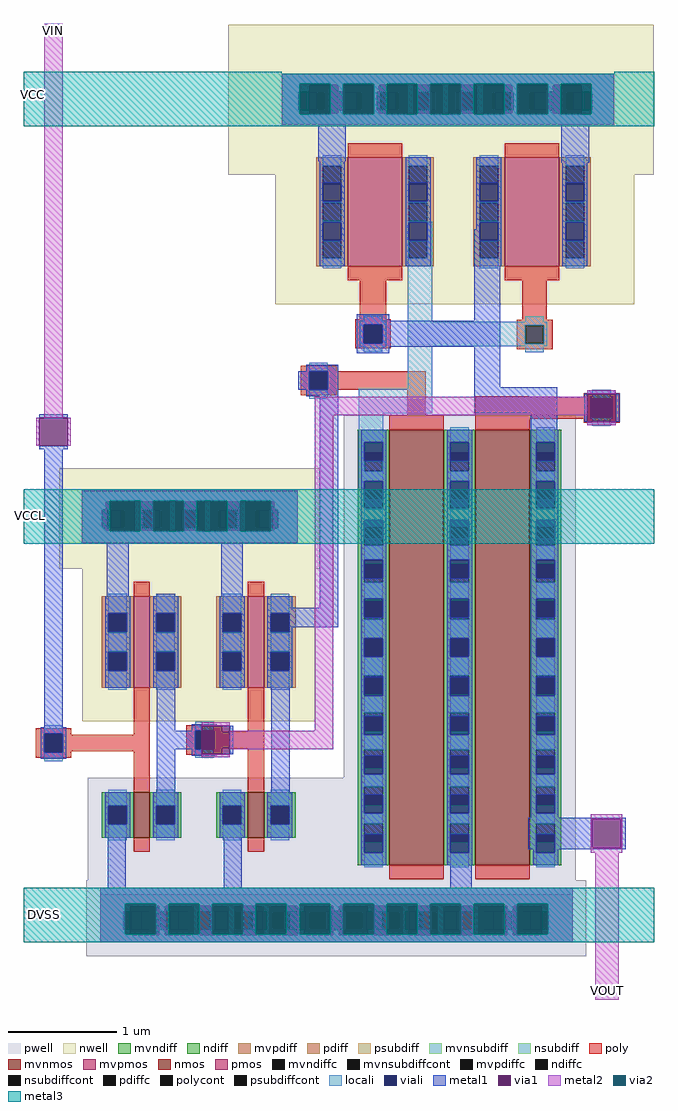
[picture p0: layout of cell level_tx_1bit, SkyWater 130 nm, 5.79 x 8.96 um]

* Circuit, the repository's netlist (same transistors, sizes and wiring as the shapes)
* SPICE3 file created from level_tx_1bit.ext - technology: sky130A

.subckt level_tx_1bit DVSS VCCL VCC VIN VOUT
X0 DVSS a_n1533_1353# a_n1136_1438# DVSS sky130_fd_pr__nfet_g5v0d10v5 ad=0.58 pd=4.29 as=1.16 ps=8.58 w=4 l=0.5
X1 VOUT a_n1743_693# DVSS DVSS sky130_fd_pr__nfet_g5v0d10v5 ad=1.16 pd=8.58 as=0.58 ps=4.29 w=4 l=0.5
X2 a_n1743_693# VIN VCCL VCCL sky130_fd_pr__pfet_01v8 ad=0.244 pd=2.26 as=0.244 ps=2.26 w=0.84 l=0.15
X3 a_n1533_1353# a_n1743_693# VCCL VCCL sky130_fd_pr__pfet_01v8 ad=0.244 pd=2.26 as=0.487 ps=4.52 w=0.84 l=0.15
X4 VCC VOUT a_n1136_1438# VCC sky130_fd_pr__pfet_g5v0d10v5 ad=0.29 pd=2.58 as=0.29 ps=2.58 w=1 l=0.5
X5 VCC a_n1136_1438# VOUT VCC sky130_fd_pr__pfet_g5v0d10v5 ad=0.58 pd=5.16 as=0.29 ps=2.58 w=1 l=0.5
X6 a_n1743_693# VIN DVSS DVSS sky130_fd_pr__nfet_01v8 ad=0.122 pd=1.42 as=0.122 ps=1.42 w=0.42 l=0.15
X7 a_n1533_1353# a_n1743_693# DVSS DVSS sky130_fd_pr__nfet_01v8 ad=0.122 pd=1.42 as=0.244 ps=2.84 w=0.42 l=0.15
.ends

X1 DVSS VCCL VCC VIN VOUT level_tx_1bit

.param mc_mm_switch=0
.param mc_pr_switch=0
.include /foss/pdks/sky130A/libs.tech/ngspice/corners/tt.spice
.include /foss/pdks/sky130A/libs.tech/ngspice/r+c/res_typical__cap_typical.spice
.include /foss/pdks/sky130A/libs.tech/ngspice/r+c/res_typical__cap_typical__lin.spice
.include /foss/pdks/sky130A/libs.tech/ngspice/corners/tt/specialized_cells.spice


V1 DVSS 0 dc 0
V2 VCC 0 dc 3.3
V3 VCCL 0 dc 1.8


V4 VIN 0 PULSE(0 1.8 0 0.1n 0.1n 2n 4n)

.tran 0.1n 10n
.control
run
plot VOUT VIN
.endc
.end

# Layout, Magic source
magic
tech sky130A
magscale 1 2
<< nwell >>
rect -1666 1758 -884 2034
rect -1580 1520 -920 1758
rect -1976 1034 -1498 1219
rect -1934 754 -1506 1034
<< pwell >>
rect -1454 650 -1028 1316
rect -1924 462 -1028 650
rect -1927 322 -1008 462
<< nmos >>
rect -1840 540 -1810 624
rect -1630 540 -1600 624
<< pmos >>
rect -1840 816 -1810 984
rect -1630 816 -1600 984
<< mvnmos >>
rect -1370 490 -1270 1290
rect -1212 490 -1112 1290
<< mvpmos >>
rect -1446 1590 -1346 1790
rect -1158 1590 -1058 1790
<< ndiff >>
rect -1898 599 -1840 624
rect -1898 565 -1886 599
rect -1852 565 -1840 599
rect -1898 540 -1840 565
rect -1810 599 -1752 624
rect -1810 565 -1798 599
rect -1764 565 -1752 599
rect -1810 540 -1752 565
rect -1688 599 -1630 624
rect -1688 565 -1676 599
rect -1642 565 -1630 599
rect -1688 540 -1630 565
rect -1600 599 -1542 624
rect -1600 565 -1588 599
rect -1554 565 -1542 599
rect -1600 540 -1542 565
<< pdiff >>
rect -1898 951 -1840 984
rect -1898 917 -1886 951
rect -1852 917 -1840 951
rect -1898 883 -1840 917
rect -1898 849 -1886 883
rect -1852 849 -1840 883
rect -1898 816 -1840 849
rect -1810 951 -1752 984
rect -1810 917 -1798 951
rect -1764 917 -1752 951
rect -1810 883 -1752 917
rect -1810 849 -1798 883
rect -1764 849 -1752 883
rect -1810 816 -1752 849
rect -1688 951 -1630 984
rect -1688 917 -1676 951
rect -1642 917 -1630 951
rect -1688 883 -1630 917
rect -1688 849 -1676 883
rect -1642 849 -1630 883
rect -1688 816 -1630 849
rect -1600 951 -1542 984
rect -1600 917 -1588 951
rect -1554 917 -1542 951
rect -1600 883 -1542 917
rect -1600 849 -1588 883
rect -1554 849 -1542 883
rect -1600 816 -1542 849
<< mvndiff >>
rect -1428 1247 -1370 1290
rect -1428 1213 -1416 1247
rect -1382 1213 -1370 1247
rect -1428 1179 -1370 1213
rect -1428 1145 -1416 1179
rect -1382 1145 -1370 1179
rect -1428 1111 -1370 1145
rect -1428 1077 -1416 1111
rect -1382 1077 -1370 1111
rect -1428 1043 -1370 1077
rect -1428 1009 -1416 1043
rect -1382 1009 -1370 1043
rect -1428 975 -1370 1009
rect -1428 941 -1416 975
rect -1382 941 -1370 975
rect -1428 907 -1370 941
rect -1428 873 -1416 907
rect -1382 873 -1370 907
rect -1428 839 -1370 873
rect -1428 805 -1416 839
rect -1382 805 -1370 839
rect -1428 771 -1370 805
rect -1428 737 -1416 771
rect -1382 737 -1370 771
rect -1428 703 -1370 737
rect -1428 669 -1416 703
rect -1382 669 -1370 703
rect -1428 635 -1370 669
rect -1428 601 -1416 635
rect -1382 601 -1370 635
rect -1428 567 -1370 601
rect -1428 533 -1416 567
rect -1382 533 -1370 567
rect -1428 490 -1370 533
rect -1270 1247 -1212 1290
rect -1270 1213 -1258 1247
rect -1224 1213 -1212 1247
rect -1270 1179 -1212 1213
rect -1270 1145 -1258 1179
rect -1224 1145 -1212 1179
rect -1270 1111 -1212 1145
rect -1270 1077 -1258 1111
rect -1224 1077 -1212 1111
rect -1270 1043 -1212 1077
rect -1270 1009 -1258 1043
rect -1224 1009 -1212 1043
rect -1270 975 -1212 1009
rect -1270 941 -1258 975
rect -1224 941 -1212 975
rect -1270 907 -1212 941
rect -1270 873 -1258 907
rect -1224 873 -1212 907
rect -1270 839 -1212 873
rect -1270 805 -1258 839
rect -1224 805 -1212 839
rect -1270 771 -1212 805
rect -1270 737 -1258 771
rect -1224 737 -1212 771
rect -1270 703 -1212 737
rect -1270 669 -1258 703
rect -1224 669 -1212 703
rect -1270 635 -1212 669
rect -1270 601 -1258 635
rect -1224 601 -1212 635
rect -1270 567 -1212 601
rect -1270 533 -1258 567
rect -1224 533 -1212 567
rect -1270 490 -1212 533
rect -1112 1247 -1054 1290
rect -1112 1213 -1100 1247
rect -1066 1213 -1054 1247
rect -1112 1179 -1054 1213
rect -1112 1145 -1100 1179
rect -1066 1145 -1054 1179
rect -1112 1111 -1054 1145
rect -1112 1077 -1100 1111
rect -1066 1077 -1054 1111
rect -1112 1043 -1054 1077
rect -1112 1009 -1100 1043
rect -1066 1009 -1054 1043
rect -1112 975 -1054 1009
rect -1112 941 -1100 975
rect -1066 941 -1054 975
rect -1112 907 -1054 941
rect -1112 873 -1100 907
rect -1066 873 -1054 907
rect -1112 839 -1054 873
rect -1112 805 -1100 839
rect -1066 805 -1054 839
rect -1112 771 -1054 805
rect -1112 737 -1100 771
rect -1066 737 -1054 771
rect -1112 703 -1054 737
rect -1112 669 -1100 703
rect -1066 669 -1054 703
rect -1112 635 -1054 669
rect -1112 601 -1100 635
rect -1066 601 -1054 635
rect -1112 567 -1054 601
rect -1112 533 -1100 567
rect -1066 533 -1054 567
rect -1112 490 -1054 533
<< mvpdiff >>
rect -1504 1775 -1446 1790
rect -1504 1741 -1492 1775
rect -1458 1741 -1446 1775
rect -1504 1707 -1446 1741
rect -1504 1673 -1492 1707
rect -1458 1673 -1446 1707
rect -1504 1639 -1446 1673
rect -1504 1605 -1492 1639
rect -1458 1605 -1446 1639
rect -1504 1590 -1446 1605
rect -1346 1775 -1288 1790
rect -1346 1741 -1334 1775
rect -1300 1741 -1288 1775
rect -1346 1707 -1288 1741
rect -1346 1673 -1334 1707
rect -1300 1673 -1288 1707
rect -1346 1639 -1288 1673
rect -1346 1605 -1334 1639
rect -1300 1605 -1288 1639
rect -1346 1590 -1288 1605
rect -1216 1775 -1158 1790
rect -1216 1741 -1204 1775
rect -1170 1741 -1158 1775
rect -1216 1707 -1158 1741
rect -1216 1673 -1204 1707
rect -1170 1673 -1158 1707
rect -1216 1639 -1158 1673
rect -1216 1605 -1204 1639
rect -1170 1605 -1158 1639
rect -1216 1590 -1158 1605
rect -1058 1775 -1000 1790
rect -1058 1741 -1046 1775
rect -1012 1741 -1000 1775
rect -1058 1707 -1000 1741
rect -1058 1673 -1046 1707
rect -1012 1673 -1000 1707
rect -1058 1639 -1000 1673
rect -1058 1605 -1046 1639
rect -1012 1605 -1000 1639
rect -1058 1590 -1000 1605
<< ndiffc >>
rect -1886 565 -1852 599
rect -1798 565 -1764 599
rect -1676 565 -1642 599
rect -1588 565 -1554 599
<< pdiffc >>
rect -1886 917 -1852 951
rect -1886 849 -1852 883
rect -1798 917 -1764 951
rect -1798 849 -1764 883
rect -1676 917 -1642 951
rect -1676 849 -1642 883
rect -1588 917 -1554 951
rect -1588 849 -1554 883
<< mvndiffc >>
rect -1416 1213 -1382 1247
rect -1416 1145 -1382 1179
rect -1416 1077 -1382 1111
rect -1416 1009 -1382 1043
rect -1416 941 -1382 975
rect -1416 873 -1382 907
rect -1416 805 -1382 839
rect -1416 737 -1382 771
rect -1416 669 -1382 703
rect -1416 601 -1382 635
rect -1416 533 -1382 567
rect -1258 1213 -1224 1247
rect -1258 1145 -1224 1179
rect -1258 1077 -1224 1111
rect -1258 1009 -1224 1043
rect -1258 941 -1224 975
rect -1258 873 -1224 907
rect -1258 805 -1224 839
rect -1258 737 -1224 771
rect -1258 669 -1224 703
rect -1258 601 -1224 635
rect -1258 533 -1224 567
rect -1100 1213 -1066 1247
rect -1100 1145 -1066 1179
rect -1100 1077 -1066 1111
rect -1100 1009 -1066 1043
rect -1100 941 -1066 975
rect -1100 873 -1066 907
rect -1100 805 -1066 839
rect -1100 737 -1066 771
rect -1100 669 -1066 703
rect -1100 601 -1066 635
rect -1100 533 -1066 567
<< mvpdiffc >>
rect -1492 1741 -1458 1775
rect -1492 1673 -1458 1707
rect -1492 1605 -1458 1639
rect -1334 1741 -1300 1775
rect -1334 1673 -1300 1707
rect -1334 1605 -1300 1639
rect -1204 1741 -1170 1775
rect -1204 1673 -1170 1707
rect -1204 1605 -1170 1639
rect -1046 1741 -1012 1775
rect -1046 1673 -1012 1707
rect -1046 1605 -1012 1639
<< psubdiff >>
rect -1901 405 -1034 436
rect -1901 371 -1859 405
rect -1825 371 -1791 405
rect -1757 371 -1723 405
rect -1689 371 -1655 405
rect -1621 371 -1587 405
rect -1553 371 -1519 405
rect -1485 371 -1451 405
rect -1417 371 -1383 405
rect -1349 371 -1315 405
rect -1281 371 -1247 405
rect -1213 371 -1179 405
rect -1145 371 -1111 405
rect -1077 371 -1034 405
rect -1901 348 -1034 371
<< nsubdiff >>
rect -1935 1143 -1538 1179
rect -1935 1109 -1889 1143
rect -1855 1109 -1821 1143
rect -1787 1109 -1753 1143
rect -1719 1109 -1685 1143
rect -1651 1109 -1617 1143
rect -1583 1109 -1538 1143
rect -1935 1081 -1538 1109
<< mvnsubdiff >>
rect -1568 1911 -957 1944
rect -1568 1877 -1522 1911
rect -1488 1877 -1454 1911
rect -1420 1877 -1386 1911
rect -1352 1877 -1318 1911
rect -1284 1877 -1250 1911
rect -1216 1877 -1182 1911
rect -1148 1877 -1114 1911
rect -1080 1877 -1046 1911
rect -1012 1877 -957 1911
rect -1568 1850 -957 1877
<< psubdiffcont >>
rect -1859 371 -1825 405
rect -1791 371 -1757 405
rect -1723 371 -1689 405
rect -1655 371 -1621 405
rect -1587 371 -1553 405
rect -1519 371 -1485 405
rect -1451 371 -1417 405
rect -1383 371 -1349 405
rect -1315 371 -1281 405
rect -1247 371 -1213 405
rect -1179 371 -1145 405
rect -1111 371 -1077 405
<< nsubdiffcont >>
rect -1889 1109 -1855 1143
rect -1821 1109 -1787 1143
rect -1753 1109 -1719 1143
rect -1685 1109 -1651 1143
rect -1617 1109 -1583 1143
<< mvnsubdiffcont >>
rect -1522 1877 -1488 1911
rect -1454 1877 -1420 1911
rect -1386 1877 -1352 1911
rect -1318 1877 -1284 1911
rect -1250 1877 -1216 1911
rect -1182 1877 -1148 1911
rect -1114 1877 -1080 1911
rect -1046 1877 -1012 1911
<< poly >>
rect -1446 1790 -1346 1816
rect -1158 1790 -1058 1816
rect -1446 1564 -1346 1590
rect -1158 1564 -1058 1590
rect -1424 1493 -1376 1564
rect -1433 1483 -1367 1493
rect -1126 1492 -1081 1564
rect -1433 1449 -1417 1483
rect -1383 1449 -1367 1483
rect -1433 1439 -1367 1449
rect -1136 1482 -1070 1492
rect -1136 1448 -1120 1482
rect -1086 1448 -1070 1482
rect -1136 1438 -1070 1448
rect -1533 1397 -1467 1407
rect -1533 1363 -1517 1397
rect -1483 1363 -1303 1397
rect -1533 1353 -1467 1363
rect -1337 1316 -1303 1363
rect -1212 1350 -1114 1351
rect -1013 1350 -947 1357
rect -1212 1347 -947 1350
rect -1370 1290 -1270 1316
rect -1212 1313 -997 1347
rect -963 1313 -947 1347
rect -1212 1310 -947 1313
rect -1212 1290 -1112 1310
rect -1013 1303 -947 1310
rect -1840 984 -1810 1010
rect -1630 984 -1600 1010
rect -2020 731 -1954 741
rect -2020 697 -2004 731
rect -1970 729 -1954 731
rect -1840 729 -1810 816
rect -1970 699 -1810 729
rect -1970 697 -1954 699
rect -2020 687 -1954 697
rect -1840 624 -1810 699
rect -1743 737 -1677 747
rect -1743 703 -1727 737
rect -1693 735 -1677 737
rect -1630 735 -1600 816
rect -1693 705 -1600 735
rect -1693 703 -1677 705
rect -1743 693 -1677 703
rect -1630 624 -1600 705
rect -1840 514 -1810 540
rect -1630 514 -1600 540
rect -1370 464 -1270 490
rect -1212 464 -1112 490
<< polycont >>
rect -1417 1449 -1383 1483
rect -1120 1448 -1086 1482
rect -1517 1363 -1483 1397
rect -997 1313 -963 1347
rect -2004 697 -1970 731
rect -1727 703 -1693 737
<< locali >>
rect -1568 1911 -957 1944
rect -1568 1877 -1536 1911
rect -1488 1877 -1464 1911
rect -1420 1877 -1392 1911
rect -1352 1877 -1320 1911
rect -1284 1877 -1250 1911
rect -1214 1877 -1182 1911
rect -1142 1877 -1114 1911
rect -1070 1877 -1046 1911
rect -998 1877 -957 1911
rect -1568 1850 -957 1877
rect -1492 1775 -1458 1794
rect -1492 1707 -1458 1709
rect -1492 1671 -1458 1673
rect -1334 1775 -1300 1794
rect -1334 1707 -1300 1709
rect -1334 1672 -1300 1673
rect -1204 1775 -1170 1794
rect -1204 1707 -1170 1709
rect -1492 1586 -1458 1605
rect -1336 1671 -1291 1672
rect -1336 1605 -1334 1671
rect -1300 1605 -1291 1671
rect -1417 1490 -1383 1499
rect -1424 1483 -1376 1490
rect -1424 1449 -1417 1483
rect -1383 1449 -1376 1483
rect -1424 1442 -1376 1449
rect -1336 1488 -1291 1605
rect -1204 1671 -1170 1673
rect -1204 1586 -1170 1605
rect -1046 1775 -1012 1794
rect -1046 1707 -1012 1709
rect -1046 1671 -1012 1673
rect -1046 1586 -1012 1605
rect -1120 1488 -1086 1498
rect -1336 1482 -1080 1488
rect -1336 1448 -1120 1482
rect -1086 1448 -1080 1482
rect -1336 1443 -1080 1448
rect -1417 1433 -1383 1442
rect -1517 1397 -1483 1413
rect -1336 1365 -1291 1443
rect -1120 1432 -1086 1443
rect -1517 1347 -1483 1363
rect -1426 1320 -1291 1365
rect -997 1350 -963 1363
rect -1000 1347 -960 1350
rect -1426 1267 -1381 1320
rect -1000 1313 -997 1347
rect -963 1313 -960 1347
rect -1000 1310 -960 1313
rect -997 1297 -963 1310
rect -1426 1213 -1416 1267
rect -1382 1213 -1381 1267
rect -1426 1195 -1381 1213
rect -1426 1182 -1416 1195
rect -1382 1182 -1381 1195
rect -1258 1267 -1224 1294
rect -1258 1195 -1224 1213
rect -1935 1143 -1538 1179
rect -1935 1109 -1897 1143
rect -1855 1109 -1825 1143
rect -1787 1109 -1753 1143
rect -1719 1109 -1685 1143
rect -1647 1109 -1617 1143
rect -1575 1109 -1538 1143
rect -1935 1081 -1538 1109
rect -1416 1123 -1382 1145
rect -1416 1051 -1382 1077
rect -1886 953 -1852 988
rect -1886 883 -1852 917
rect -1886 812 -1852 847
rect -1798 953 -1764 988
rect -1798 883 -1764 917
rect -1798 812 -1764 847
rect -1676 953 -1642 988
rect -1676 883 -1642 917
rect -1676 812 -1642 847
rect -1588 953 -1554 988
rect -1588 883 -1554 917
rect -1588 812 -1554 847
rect -1416 979 -1382 1009
rect -1416 907 -1382 941
rect -1416 839 -1382 873
rect -1416 771 -1382 801
rect -2004 731 -1970 747
rect -2004 681 -1970 697
rect -1727 737 -1693 753
rect -1727 687 -1693 703
rect -1416 703 -1382 729
rect -1416 635 -1382 657
rect -1886 599 -1852 628
rect -1886 536 -1852 565
rect -1798 599 -1764 628
rect -1798 536 -1764 565
rect -1676 599 -1642 628
rect -1676 536 -1642 565
rect -1588 599 -1554 628
rect -1588 536 -1554 565
rect -1416 567 -1382 585
rect -1416 486 -1382 513
rect -1258 1123 -1224 1145
rect -1258 1051 -1224 1077
rect -1258 979 -1224 1009
rect -1258 907 -1224 941
rect -1258 839 -1224 873
rect -1258 771 -1224 801
rect -1258 703 -1224 729
rect -1258 635 -1224 657
rect -1258 567 -1224 585
rect -1258 486 -1224 513
rect -1100 1267 -1066 1294
rect -1100 1195 -1066 1213
rect -1100 1123 -1066 1145
rect -1100 1051 -1066 1077
rect -1100 979 -1066 1009
rect -1100 907 -1066 941
rect -1100 839 -1066 873
rect -1100 771 -1066 801
rect -1100 703 -1066 729
rect -1100 635 -1066 657
rect -1100 567 -1066 585
rect -1100 486 -1066 513
rect -1901 405 -1033 448
rect -1901 371 -1859 405
rect -1811 371 -1791 405
rect -1739 371 -1723 405
rect -1667 371 -1655 405
rect -1595 371 -1587 405
rect -1523 371 -1519 405
rect -1417 371 -1413 405
rect -1349 371 -1341 405
rect -1281 371 -1269 405
rect -1213 371 -1197 405
rect -1145 371 -1125 405
rect -1077 371 -1033 405
rect -1901 348 -1033 371
<< viali >>
rect -1536 1877 -1522 1911
rect -1522 1877 -1502 1911
rect -1464 1877 -1454 1911
rect -1454 1877 -1430 1911
rect -1392 1877 -1386 1911
rect -1386 1877 -1358 1911
rect -1320 1877 -1318 1911
rect -1318 1877 -1286 1911
rect -1248 1877 -1216 1911
rect -1216 1877 -1214 1911
rect -1176 1877 -1148 1911
rect -1148 1877 -1142 1911
rect -1104 1877 -1080 1911
rect -1080 1877 -1070 1911
rect -1032 1877 -1012 1911
rect -1012 1877 -998 1911
rect -1492 1741 -1458 1743
rect -1492 1709 -1458 1741
rect -1334 1741 -1300 1743
rect -1334 1709 -1300 1741
rect -1204 1741 -1170 1743
rect -1204 1709 -1170 1741
rect -1492 1639 -1458 1671
rect -1492 1637 -1458 1639
rect -1334 1639 -1300 1671
rect -1334 1637 -1300 1639
rect -1417 1449 -1383 1483
rect -1204 1639 -1170 1671
rect -1204 1637 -1170 1639
rect -1046 1741 -1012 1743
rect -1046 1709 -1012 1741
rect -1046 1639 -1012 1671
rect -1046 1637 -1012 1639
rect -1517 1363 -1483 1397
rect -997 1313 -963 1347
rect -1416 1247 -1382 1267
rect -1416 1233 -1382 1247
rect -1416 1179 -1382 1195
rect -1258 1247 -1224 1267
rect -1258 1233 -1224 1247
rect -1897 1109 -1889 1143
rect -1889 1109 -1863 1143
rect -1825 1109 -1821 1143
rect -1821 1109 -1791 1143
rect -1753 1109 -1719 1143
rect -1681 1109 -1651 1143
rect -1651 1109 -1647 1143
rect -1609 1109 -1583 1143
rect -1583 1109 -1575 1143
rect -1416 1161 -1382 1179
rect -1416 1111 -1382 1123
rect -1416 1089 -1382 1111
rect -1416 1043 -1382 1051
rect -1416 1017 -1382 1043
rect -1886 951 -1852 953
rect -1886 919 -1852 951
rect -1886 849 -1852 881
rect -1886 847 -1852 849
rect -1798 951 -1764 953
rect -1798 919 -1764 951
rect -1798 849 -1764 881
rect -1798 847 -1764 849
rect -1676 951 -1642 953
rect -1676 919 -1642 951
rect -1676 849 -1642 881
rect -1676 847 -1642 849
rect -1588 951 -1554 953
rect -1588 919 -1554 951
rect -1588 849 -1554 881
rect -1588 847 -1554 849
rect -1416 975 -1382 979
rect -1416 945 -1382 975
rect -1416 873 -1382 907
rect -1416 805 -1382 835
rect -1416 801 -1382 805
rect -2004 697 -1970 731
rect -1727 703 -1693 737
rect -1416 737 -1382 763
rect -1416 729 -1382 737
rect -1416 669 -1382 691
rect -1416 657 -1382 669
rect -1886 565 -1852 599
rect -1798 565 -1764 599
rect -1676 565 -1642 599
rect -1588 565 -1554 599
rect -1416 601 -1382 619
rect -1416 585 -1382 601
rect -1416 533 -1382 547
rect -1416 513 -1382 533
rect -1258 1179 -1224 1195
rect -1258 1161 -1224 1179
rect -1258 1111 -1224 1123
rect -1258 1089 -1224 1111
rect -1258 1043 -1224 1051
rect -1258 1017 -1224 1043
rect -1258 975 -1224 979
rect -1258 945 -1224 975
rect -1258 873 -1224 907
rect -1258 805 -1224 835
rect -1258 801 -1224 805
rect -1258 737 -1224 763
rect -1258 729 -1224 737
rect -1258 669 -1224 691
rect -1258 657 -1224 669
rect -1258 601 -1224 619
rect -1258 585 -1224 601
rect -1258 533 -1224 547
rect -1258 513 -1224 533
rect -1100 1247 -1066 1267
rect -1100 1233 -1066 1247
rect -1100 1179 -1066 1195
rect -1100 1161 -1066 1179
rect -1100 1111 -1066 1123
rect -1100 1089 -1066 1111
rect -1100 1043 -1066 1051
rect -1100 1017 -1066 1043
rect -1100 975 -1066 979
rect -1100 945 -1066 975
rect -1100 873 -1066 907
rect -1100 805 -1066 835
rect -1100 801 -1066 805
rect -1100 737 -1066 763
rect -1100 729 -1066 737
rect -1100 669 -1066 691
rect -1100 657 -1066 669
rect -1100 601 -1066 619
rect -1100 585 -1066 601
rect -1100 533 -1066 547
rect -1100 513 -1066 533
rect -1845 371 -1825 405
rect -1825 371 -1811 405
rect -1773 371 -1757 405
rect -1757 371 -1739 405
rect -1701 371 -1689 405
rect -1689 371 -1667 405
rect -1629 371 -1621 405
rect -1621 371 -1595 405
rect -1557 371 -1553 405
rect -1553 371 -1523 405
rect -1485 371 -1451 405
rect -1413 371 -1383 405
rect -1383 371 -1379 405
rect -1341 371 -1315 405
rect -1315 371 -1307 405
rect -1269 371 -1247 405
rect -1247 371 -1235 405
rect -1197 371 -1179 405
rect -1179 371 -1163 405
rect -1125 371 -1111 405
rect -1111 371 -1091 405
<< metal1 >>
rect -1568 1923 -957 1944
rect -1568 1911 -1517 1923
rect -1465 1911 -1453 1923
rect -1401 1911 -1389 1923
rect -1568 1877 -1536 1911
rect -1465 1877 -1464 1911
rect -1401 1877 -1392 1911
rect -1568 1871 -1517 1877
rect -1465 1871 -1453 1877
rect -1401 1871 -1389 1877
rect -1337 1871 -1325 1923
rect -1273 1871 -1261 1923
rect -1209 1871 -1197 1923
rect -1145 1911 -1133 1923
rect -1081 1911 -1069 1923
rect -1017 1911 -957 1923
rect -1142 1877 -1133 1911
rect -1070 1877 -1069 1911
rect -998 1877 -957 1911
rect -1145 1871 -1133 1877
rect -1081 1871 -1069 1877
rect -1017 1871 -957 1877
rect -1568 1850 -957 1871
rect -1501 1783 -1450 1850
rect -1498 1743 -1452 1783
rect -1498 1709 -1492 1743
rect -1458 1709 -1452 1743
rect -1498 1671 -1452 1709
rect -1498 1637 -1492 1671
rect -1458 1637 -1452 1671
rect -1498 1590 -1452 1637
rect -1340 1743 -1294 1790
rect -1340 1709 -1334 1743
rect -1300 1709 -1294 1743
rect -1340 1671 -1294 1709
rect -1340 1637 -1334 1671
rect -1300 1637 -1294 1671
rect -1210 1743 -1164 1790
rect -1054 1780 -1003 1850
rect -1210 1709 -1204 1743
rect -1170 1709 -1164 1743
rect -1210 1671 -1164 1709
rect -1210 1658 -1204 1671
rect -1340 1590 -1294 1637
rect -1214 1637 -1204 1658
rect -1170 1637 -1164 1671
rect -1214 1590 -1164 1637
rect -1052 1743 -1006 1780
rect -1052 1709 -1046 1743
rect -1012 1709 -1006 1743
rect -1052 1671 -1006 1709
rect -1052 1637 -1046 1671
rect -1012 1637 -1006 1671
rect -1052 1590 -1006 1637
rect -1430 1490 -1370 1502
rect -1214 1490 -1166 1590
rect -1430 1483 -1166 1490
rect -1430 1449 -1417 1483
rect -1383 1449 -1166 1483
rect -1430 1442 -1166 1449
rect -1430 1430 -1370 1442
rect -1523 1397 -1464 1409
rect -1537 1363 -1517 1397
rect -1483 1363 -1464 1397
rect -1523 1351 -1464 1363
rect -2013 1312 -1961 1318
rect -2013 1254 -1961 1260
rect -2004 743 -1970 1254
rect -1935 1157 -1538 1178
rect -1935 1143 -1890 1157
rect -1935 1109 -1897 1143
rect -1935 1105 -1890 1109
rect -1838 1105 -1826 1157
rect -1774 1105 -1762 1157
rect -1710 1105 -1698 1157
rect -1646 1105 -1634 1157
rect -1582 1143 -1538 1157
rect -1575 1109 -1538 1143
rect -1582 1105 -1538 1109
rect -1935 1081 -1538 1105
rect -1889 984 -1849 1081
rect -1797 984 -1763 988
rect -1679 984 -1639 1081
rect -1892 953 -1846 984
rect -1892 919 -1886 953
rect -1852 919 -1846 953
rect -1892 881 -1846 919
rect -1892 847 -1886 881
rect -1852 847 -1846 881
rect -1892 816 -1846 847
rect -1804 953 -1758 984
rect -1804 919 -1798 953
rect -1764 919 -1758 953
rect -1804 881 -1758 919
rect -1804 847 -1798 881
rect -1764 847 -1758 881
rect -1804 816 -1758 847
rect -1682 953 -1636 984
rect -1682 919 -1676 953
rect -1642 919 -1636 953
rect -1682 881 -1636 919
rect -1682 847 -1676 881
rect -1642 847 -1636 881
rect -1682 816 -1636 847
rect -1594 963 -1548 984
rect -1498 963 -1464 1351
rect -1214 1368 -1166 1442
rect -1214 1320 -1062 1368
rect -1006 1356 -954 1362
rect -1110 1290 -1062 1320
rect -1012 1304 -1006 1356
rect -954 1304 -948 1356
rect -1006 1298 -954 1304
rect -1594 953 -1464 963
rect -1594 919 -1588 953
rect -1554 927 -1464 953
rect -1422 1267 -1376 1290
rect -1422 1233 -1416 1267
rect -1382 1233 -1376 1267
rect -1422 1195 -1376 1233
rect -1422 1161 -1416 1195
rect -1382 1161 -1376 1195
rect -1422 1123 -1376 1161
rect -1422 1089 -1416 1123
rect -1382 1089 -1376 1123
rect -1422 1051 -1376 1089
rect -1422 1017 -1416 1051
rect -1382 1017 -1376 1051
rect -1422 979 -1376 1017
rect -1422 945 -1416 979
rect -1382 945 -1376 979
rect -1554 919 -1548 927
rect -1594 881 -1548 919
rect -1594 847 -1588 881
rect -1554 847 -1548 881
rect -1594 816 -1548 847
rect -1422 907 -1376 945
rect -1422 873 -1416 907
rect -1382 873 -1376 907
rect -1422 835 -1376 873
rect -2010 731 -1964 743
rect -2010 697 -2004 731
rect -1970 697 -1964 731
rect -2010 685 -1964 697
rect -1797 737 -1763 816
rect -1733 746 -1687 749
rect -1733 737 -1715 746
rect -1797 703 -1727 737
rect -1797 624 -1763 703
rect -1733 694 -1715 703
rect -1663 694 -1657 746
rect -1733 691 -1687 694
rect -1587 624 -1553 816
rect -1422 801 -1416 835
rect -1382 801 -1376 835
rect -1422 763 -1376 801
rect -1422 729 -1416 763
rect -1382 729 -1376 763
rect -1422 691 -1376 729
rect -1422 657 -1416 691
rect -1382 657 -1376 691
rect -1892 599 -1846 624
rect -1892 565 -1886 599
rect -1852 565 -1846 599
rect -1892 540 -1846 565
rect -1804 599 -1758 624
rect -1804 565 -1798 599
rect -1764 565 -1758 599
rect -1804 540 -1758 565
rect -1682 599 -1636 624
rect -1682 565 -1676 599
rect -1642 565 -1636 599
rect -1682 540 -1636 565
rect -1594 599 -1548 624
rect -1594 565 -1588 599
rect -1554 565 -1548 599
rect -1594 540 -1548 565
rect -1422 619 -1376 657
rect -1422 585 -1416 619
rect -1382 585 -1376 619
rect -1422 547 -1376 585
rect -1887 448 -1854 540
rect -1674 448 -1641 540
rect -1422 513 -1416 547
rect -1382 513 -1376 547
rect -1422 490 -1376 513
rect -1264 1267 -1218 1290
rect -1264 1233 -1258 1267
rect -1224 1233 -1218 1267
rect -1264 1195 -1218 1233
rect -1264 1161 -1258 1195
rect -1224 1161 -1218 1195
rect -1264 1123 -1218 1161
rect -1264 1089 -1258 1123
rect -1224 1089 -1218 1123
rect -1264 1051 -1218 1089
rect -1264 1017 -1258 1051
rect -1224 1017 -1218 1051
rect -1264 979 -1218 1017
rect -1264 945 -1258 979
rect -1224 945 -1218 979
rect -1264 907 -1218 945
rect -1264 873 -1258 907
rect -1224 873 -1218 907
rect -1264 835 -1218 873
rect -1264 801 -1258 835
rect -1224 801 -1218 835
rect -1264 763 -1218 801
rect -1264 729 -1258 763
rect -1224 729 -1218 763
rect -1264 691 -1218 729
rect -1264 657 -1258 691
rect -1224 657 -1218 691
rect -1264 619 -1218 657
rect -1264 585 -1258 619
rect -1224 585 -1218 619
rect -1264 547 -1218 585
rect -1110 1267 -1060 1290
rect -1110 1233 -1100 1267
rect -1066 1233 -1060 1267
rect -1110 1195 -1060 1233
rect -1110 1161 -1100 1195
rect -1066 1161 -1060 1195
rect -1110 1123 -1060 1161
rect -1110 1089 -1100 1123
rect -1066 1089 -1060 1123
rect -1110 1051 -1060 1089
rect -1110 1017 -1100 1051
rect -1066 1017 -1060 1051
rect -1110 979 -1060 1017
rect -1110 945 -1100 979
rect -1066 945 -1060 979
rect -1110 907 -1060 945
rect -1110 873 -1100 907
rect -1066 873 -1060 907
rect -1110 835 -1060 873
rect -1110 801 -1100 835
rect -1066 801 -1060 835
rect -1110 763 -1060 801
rect -1110 729 -1100 763
rect -1066 729 -1060 763
rect -1110 691 -1060 729
rect -1110 657 -1100 691
rect -1066 657 -1060 691
rect -1110 619 -1060 657
rect -1110 585 -1100 619
rect -1066 585 -1060 619
rect -1110 577 -1060 585
rect -1264 513 -1258 547
rect -1224 513 -1218 547
rect -1115 574 -936 577
rect -1115 547 -997 574
rect -1115 519 -1100 547
rect -1264 490 -1218 513
rect -1106 513 -1100 519
rect -1066 522 -997 547
rect -945 522 -936 574
rect -1066 519 -936 522
rect -1066 513 -1060 519
rect -1106 490 -1060 513
rect -1258 448 -1219 490
rect -1901 414 -1033 448
rect -1901 362 -1846 414
rect -1794 362 -1782 414
rect -1730 362 -1718 414
rect -1666 362 -1654 414
rect -1602 405 -1590 414
rect -1538 405 -1526 414
rect -1474 405 -1462 414
rect -1410 405 -1398 414
rect -1346 405 -1334 414
rect -1595 371 -1590 405
rect -1346 371 -1341 405
rect -1602 362 -1590 371
rect -1538 362 -1526 371
rect -1474 362 -1462 371
rect -1410 362 -1398 371
rect -1346 362 -1334 371
rect -1282 362 -1270 414
rect -1218 362 -1206 414
rect -1154 362 -1142 414
rect -1090 362 -1033 414
rect -1901 348 -1033 362
<< via1 >>
rect -1517 1911 -1465 1923
rect -1453 1911 -1401 1923
rect -1389 1911 -1337 1923
rect -1517 1877 -1502 1911
rect -1502 1877 -1465 1911
rect -1453 1877 -1430 1911
rect -1430 1877 -1401 1911
rect -1389 1877 -1358 1911
rect -1358 1877 -1337 1911
rect -1517 1871 -1465 1877
rect -1453 1871 -1401 1877
rect -1389 1871 -1337 1877
rect -1325 1911 -1273 1923
rect -1325 1877 -1320 1911
rect -1320 1877 -1286 1911
rect -1286 1877 -1273 1911
rect -1325 1871 -1273 1877
rect -1261 1911 -1209 1923
rect -1261 1877 -1248 1911
rect -1248 1877 -1214 1911
rect -1214 1877 -1209 1911
rect -1261 1871 -1209 1877
rect -1197 1911 -1145 1923
rect -1133 1911 -1081 1923
rect -1069 1911 -1017 1923
rect -1197 1877 -1176 1911
rect -1176 1877 -1145 1911
rect -1133 1877 -1104 1911
rect -1104 1877 -1081 1911
rect -1069 1877 -1032 1911
rect -1032 1877 -1017 1911
rect -1197 1871 -1145 1877
rect -1133 1871 -1081 1877
rect -1069 1871 -1017 1877
rect -2013 1260 -1961 1312
rect -1890 1143 -1838 1157
rect -1890 1109 -1863 1143
rect -1863 1109 -1838 1143
rect -1890 1105 -1838 1109
rect -1826 1143 -1774 1157
rect -1826 1109 -1825 1143
rect -1825 1109 -1791 1143
rect -1791 1109 -1774 1143
rect -1826 1105 -1774 1109
rect -1762 1143 -1710 1157
rect -1762 1109 -1753 1143
rect -1753 1109 -1719 1143
rect -1719 1109 -1710 1143
rect -1762 1105 -1710 1109
rect -1698 1143 -1646 1157
rect -1698 1109 -1681 1143
rect -1681 1109 -1647 1143
rect -1647 1109 -1646 1143
rect -1698 1105 -1646 1109
rect -1634 1143 -1582 1157
rect -1634 1109 -1609 1143
rect -1609 1109 -1582 1143
rect -1634 1105 -1582 1109
rect -1006 1347 -954 1356
rect -1006 1313 -997 1347
rect -997 1313 -963 1347
rect -963 1313 -954 1347
rect -1006 1304 -954 1313
rect -1715 737 -1663 746
rect -1715 703 -1693 737
rect -1693 703 -1663 737
rect -1715 694 -1663 703
rect -997 522 -945 574
rect -1846 405 -1794 414
rect -1846 371 -1845 405
rect -1845 371 -1811 405
rect -1811 371 -1794 405
rect -1846 362 -1794 371
rect -1782 405 -1730 414
rect -1782 371 -1773 405
rect -1773 371 -1739 405
rect -1739 371 -1730 405
rect -1782 362 -1730 371
rect -1718 405 -1666 414
rect -1718 371 -1701 405
rect -1701 371 -1667 405
rect -1667 371 -1666 405
rect -1718 362 -1666 371
rect -1654 405 -1602 414
rect -1590 405 -1538 414
rect -1526 405 -1474 414
rect -1462 405 -1410 414
rect -1398 405 -1346 414
rect -1334 405 -1282 414
rect -1654 371 -1629 405
rect -1629 371 -1602 405
rect -1590 371 -1557 405
rect -1557 371 -1538 405
rect -1526 371 -1523 405
rect -1523 371 -1485 405
rect -1485 371 -1474 405
rect -1462 371 -1451 405
rect -1451 371 -1413 405
rect -1413 371 -1410 405
rect -1398 371 -1379 405
rect -1379 371 -1346 405
rect -1334 371 -1307 405
rect -1307 371 -1282 405
rect -1654 362 -1602 371
rect -1590 362 -1538 371
rect -1526 362 -1474 371
rect -1462 362 -1410 371
rect -1398 362 -1346 371
rect -1334 362 -1282 371
rect -1270 405 -1218 414
rect -1270 371 -1269 405
rect -1269 371 -1235 405
rect -1235 371 -1218 405
rect -1270 362 -1218 371
rect -1206 405 -1154 414
rect -1206 371 -1197 405
rect -1197 371 -1163 405
rect -1163 371 -1154 405
rect -1206 362 -1154 371
rect -1142 405 -1090 414
rect -1142 371 -1125 405
rect -1125 371 -1091 405
rect -1091 371 -1090 405
rect -1142 362 -1090 371
<< metal2 >>
rect -2004 1312 -1970 2036
rect -1568 1925 -957 1944
rect -1568 1869 -1535 1925
rect -1479 1923 -1455 1925
rect -1399 1923 -1375 1925
rect -1319 1923 -1295 1925
rect -1239 1923 -1215 1925
rect -1159 1923 -1135 1925
rect -1079 1923 -1055 1925
rect -1465 1871 -1455 1923
rect -1399 1871 -1389 1923
rect -1145 1871 -1135 1923
rect -1079 1871 -1069 1923
rect -1479 1869 -1455 1871
rect -1399 1869 -1375 1871
rect -1319 1869 -1295 1871
rect -1239 1869 -1215 1871
rect -1159 1869 -1135 1871
rect -1079 1869 -1055 1871
rect -999 1869 -957 1925
rect -1568 1850 -957 1869
rect -1006 1356 -954 1362
rect -1507 1316 -1006 1350
rect -2019 1260 -2013 1312
rect -1961 1260 -1955 1312
rect -1935 1159 -1538 1178
rect -1935 1157 -1884 1159
rect -1828 1157 -1804 1159
rect -1748 1157 -1724 1159
rect -1668 1157 -1644 1159
rect -1588 1157 -1538 1159
rect -1935 1105 -1890 1157
rect -1828 1105 -1826 1157
rect -1646 1105 -1644 1157
rect -1582 1105 -1538 1157
rect -1935 1103 -1884 1105
rect -1828 1103 -1804 1105
rect -1748 1103 -1724 1105
rect -1668 1103 -1644 1105
rect -1588 1103 -1538 1105
rect -1935 1081 -1538 1103
rect -1715 746 -1663 752
rect -1507 737 -1473 1316
rect -1006 1298 -954 1304
rect -1663 703 -1473 737
rect -1715 688 -1663 694
rect -1000 574 -942 583
rect -1000 522 -997 574
rect -945 522 -942 574
rect -1000 513 -942 522
rect -1901 419 -1033 448
rect -1901 363 -1855 419
rect -1799 414 -1775 419
rect -1719 414 -1695 419
rect -1639 414 -1615 419
rect -1559 414 -1535 419
rect -1479 414 -1455 419
rect -1399 414 -1375 419
rect -1319 414 -1295 419
rect -1239 414 -1215 419
rect -1159 414 -1135 419
rect -1901 362 -1846 363
rect -1794 362 -1782 414
rect -1719 363 -1718 414
rect -1538 363 -1535 414
rect -1730 362 -1718 363
rect -1666 362 -1654 363
rect -1602 362 -1590 363
rect -1538 362 -1526 363
rect -1474 362 -1462 414
rect -1399 363 -1398 414
rect -1218 363 -1215 414
rect -1410 362 -1398 363
rect -1346 362 -1334 363
rect -1282 362 -1270 363
rect -1218 362 -1206 363
rect -1154 362 -1142 414
rect -1079 363 -1033 419
rect -1090 362 -1033 363
rect -1901 348 -1033 362
rect -992 243 -949 513
<< via2 >>
rect -1535 1923 -1479 1925
rect -1455 1923 -1399 1925
rect -1375 1923 -1319 1925
rect -1295 1923 -1239 1925
rect -1215 1923 -1159 1925
rect -1135 1923 -1079 1925
rect -1055 1923 -999 1925
rect -1535 1871 -1517 1923
rect -1517 1871 -1479 1923
rect -1455 1871 -1453 1923
rect -1453 1871 -1401 1923
rect -1401 1871 -1399 1923
rect -1375 1871 -1337 1923
rect -1337 1871 -1325 1923
rect -1325 1871 -1319 1923
rect -1295 1871 -1273 1923
rect -1273 1871 -1261 1923
rect -1261 1871 -1239 1923
rect -1215 1871 -1209 1923
rect -1209 1871 -1197 1923
rect -1197 1871 -1159 1923
rect -1135 1871 -1133 1923
rect -1133 1871 -1081 1923
rect -1081 1871 -1079 1923
rect -1055 1871 -1017 1923
rect -1017 1871 -999 1923
rect -1535 1869 -1479 1871
rect -1455 1869 -1399 1871
rect -1375 1869 -1319 1871
rect -1295 1869 -1239 1871
rect -1215 1869 -1159 1871
rect -1135 1869 -1079 1871
rect -1055 1869 -999 1871
rect -1884 1157 -1828 1159
rect -1804 1157 -1748 1159
rect -1724 1157 -1668 1159
rect -1644 1157 -1588 1159
rect -1884 1105 -1838 1157
rect -1838 1105 -1828 1157
rect -1804 1105 -1774 1157
rect -1774 1105 -1762 1157
rect -1762 1105 -1748 1157
rect -1724 1105 -1710 1157
rect -1710 1105 -1698 1157
rect -1698 1105 -1668 1157
rect -1644 1105 -1634 1157
rect -1634 1105 -1588 1157
rect -1884 1103 -1828 1105
rect -1804 1103 -1748 1105
rect -1724 1103 -1668 1105
rect -1644 1103 -1588 1105
rect -1855 414 -1799 419
rect -1775 414 -1719 419
rect -1695 414 -1639 419
rect -1615 414 -1559 419
rect -1535 414 -1479 419
rect -1455 414 -1399 419
rect -1375 414 -1319 419
rect -1295 414 -1239 419
rect -1215 414 -1159 419
rect -1135 414 -1079 419
rect -1855 363 -1846 414
rect -1846 363 -1799 414
rect -1775 363 -1730 414
rect -1730 363 -1719 414
rect -1695 363 -1666 414
rect -1666 363 -1654 414
rect -1654 363 -1639 414
rect -1615 363 -1602 414
rect -1602 363 -1590 414
rect -1590 363 -1559 414
rect -1535 363 -1526 414
rect -1526 363 -1479 414
rect -1455 363 -1410 414
rect -1410 363 -1399 414
rect -1375 363 -1346 414
rect -1346 363 -1334 414
rect -1334 363 -1319 414
rect -1295 363 -1282 414
rect -1282 363 -1270 414
rect -1270 363 -1239 414
rect -1215 363 -1206 414
rect -1206 363 -1159 414
rect -1135 363 -1090 414
rect -1090 363 -1079 414
<< metal3 >>
rect -2042 1944 -1568 1947
rect -957 1944 -883 1947
rect -2042 1925 -883 1944
rect -2042 1869 -1535 1925
rect -1479 1869 -1455 1925
rect -1399 1869 -1375 1925
rect -1319 1869 -1295 1925
rect -1239 1869 -1215 1925
rect -1159 1869 -1135 1925
rect -1079 1869 -1055 1925
rect -999 1869 -883 1925
rect -2042 1847 -883 1869
rect -2042 1159 -883 1180
rect -2042 1103 -1884 1159
rect -1828 1103 -1804 1159
rect -1748 1103 -1724 1159
rect -1668 1103 -1644 1159
rect -1588 1103 -883 1159
rect -2042 1080 -883 1103
rect -2042 419 -883 448
rect -2042 363 -1855 419
rect -1799 363 -1775 419
rect -1719 363 -1695 419
rect -1639 363 -1615 419
rect -1559 363 -1535 419
rect -1479 363 -1455 419
rect -1399 363 -1375 419
rect -1319 363 -1295 419
rect -1239 363 -1215 419
rect -1159 363 -1135 419
rect -1079 363 -883 419
rect -2042 348 -883 363
<< labels >>
rlabel metal3 s -2003 400 -2003 400 4 DVSS
rlabel metal3 s -2030 1133 -2030 1133 4 VCCL
rlabel metal3 s -2025 1905 -2025 1905 4 VCC
rlabel metal2 s -1987 2024 -1987 2024 4 VIN
rlabel metal2 s -969 259 -969 259 4 VOUT
<< end >>
